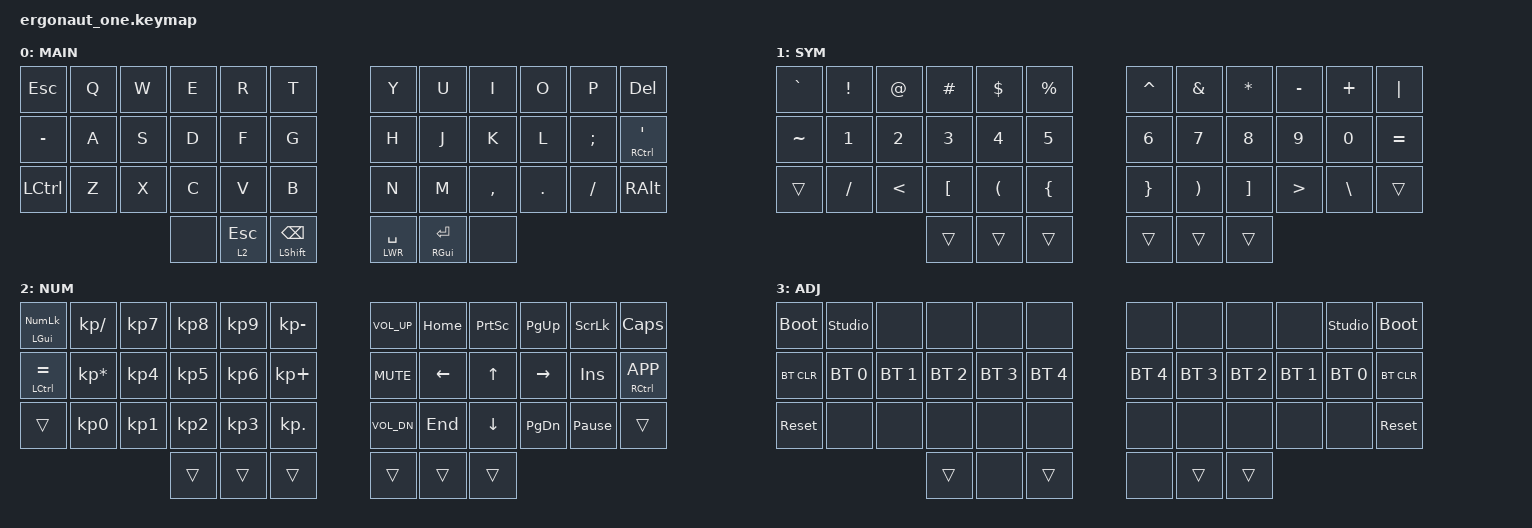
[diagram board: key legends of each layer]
#include <behaviors.dtsi>
#include <dt-bindings/zmk/bt.h>
#include <dt-bindings/zmk/keys.h>

#define DEF 0
#define LWR 1
#define RSE 2
#define ADJ 3

&lt { quick-tap-ms = <200>; };

&mt { quick-tap-ms = <200>; };

/ {
    conditional_layers {
        compatible = "zmk,conditional-layers";

        tri-layer {
            if-layers = <LWR RSE>;
            then-layer = <ADJ>;
        };
    };

    combos {
        compatible = "zmk,combos";

        tab-combo {
            bindings = <&kp TAB>;
            key-positions = <14 15 16>;
        };
    };

    keymap {
        compatible = "zmk,keymap";

        default_layer {
            display-name = "MAIN";
            bindings = <
&kp ESCAPE        &kp Q  &kp W  &kp E  &kp R         &kp T                     &kp Y          &kp U                &kp I      &kp O    &kp P     &kp DEL
&kp MINUS         &kp A  &kp S  &kp D  &kp F         &kp G                     &kp H          &kp J                &kp K      &kp L    &kp SEMI  &mt RCTRL SQT
&kp LEFT_CONTROL  &kp Z  &kp X  &kp C  &kp V         &kp B                     &kp N          &kp M                &kp COMMA  &kp DOT  &kp FSLH  &kp RIGHT_ALT
                                &none  &lt 2 ESCAPE  &mt LEFT_SHIFT BACKSPACE  &lt LWR SPACE  &mt RIGHT_GUI ENTER  &none
            >;
        };

        num_layer {
            display-name = "SYM";
            bindings = <
&kp GRAVE  &kp EXCLAMATION  &kp AT_SIGN    &kp HASH          &kp DOLLAR            &kp PERCENT     &kp CARET        &kp AMPERSAND          &kp ASTERISK       &kp MINUS         &kp PLUS       &kp PIPE
&kp TILDE  &kp N1           &kp NUMBER_2   &kp NUMBER_3      &kp NUMBER_4          &kp NUMBER_5    &kp NUMBER_6     &kp NUMBER_7           &kp NUMBER_8       &kp NUMBER_9      &kp NUMBER_0   &kp EQUAL
&trans     &kp SLASH        &kp LESS_THAN  &kp LEFT_BRACKET  &kp LEFT_PARENTHESIS  &kp LEFT_BRACE  &kp RIGHT_BRACE  &kp RIGHT_PARENTHESIS  &kp RIGHT_BRACKET  &kp GREATER_THAN  &kp BACKSLASH  &trans
                                           &trans            &trans                &trans          &trans           &trans                 &trans
            >;
        };

        nav_layer {
            display-name = "NUM";
            bindings = <
&mt LGUI KP_NUM  &kp KP_SLASH     &kp KP_N7  &kp KP_N8  &kp KP_N9  &kp KP_MINUS  &kp C_VOL_UP  &kp HOME  &kp PSCRN  &kp PG_UP  &kp SLCK         &kp CLCK
&mt LCTRL EQUAL  &kp KP_MULTIPLY  &kp KP_N4  &kp KP_N5  &kp KP_N6  &kp KP_PLUS   &kp C_MUTE    &kp LEFT  &kp UP     &kp RIGHT  &kp INS          &mt RCTRL K_APP
&trans           &kp KP_N0        &kp KP_N1  &kp KP_N2  &kp KP_N3  &kp KP_DOT    &kp C_VOL_DN  &kp END   &kp DOWN   &kp PG_DN  &kp PAUSE_BREAK  &trans
                                             &trans     &trans     &trans        &trans        &trans    &trans
            >;
        };

        adjust_layer {
            display-name = "ADJ";
            bindings = <
&bootloader  &studio_unlock  &none         &none         &none         &none         &none         &none         &none         &none         &studio_unlock  &bootloader
&bt BT_CLR   &bt BT_SEL 0    &bt BT_SEL 1  &bt BT_SEL 2  &bt BT_SEL 3  &bt BT_SEL 4  &bt BT_SEL 4  &bt BT_SEL 3  &bt BT_SEL 2  &bt BT_SEL 1  &bt BT_SEL 0    &bt BT_CLR
&sys_reset   &none           &none         &none         &none         &none         &none         &none         &none         &none         &none           &sys_reset
                                           &trans        &none         &trans        &none         &trans        &trans
            >;
        };
    };
};
